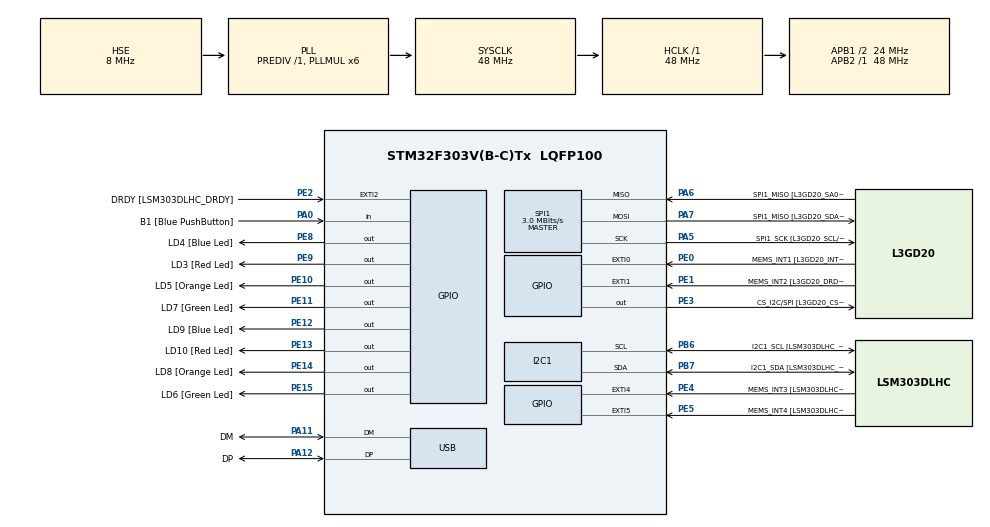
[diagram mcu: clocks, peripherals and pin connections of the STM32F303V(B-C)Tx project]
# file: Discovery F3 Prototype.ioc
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I2C1.OwnAddress=ACCELERO_I2C_ADDRESS
Mcu.Family=STM32F3
Mcu.Name=STM32F303V(B-C)Tx
Mcu.Package=LQFP100
Mcu.UserConstants=ACCELERO_I2C_ADDRESS,0x32
NVIC.PriorityGroup=NVIC_PRIORITYGROUP_0
NVIC.USB_LP_CAN_RX0_IRQn=true\:0\:0\:false
PA0.GPIO_Label=B1 [Blue PushButton]
PA0.GPIO_Mode=GPIO_MODE_INPUT
PA0.GPIO_PuPd=GPIO_NOPULL
PA0.Signal=GPIO_Input
PA11.GPIO_Label=DM
PA11.Mode=Device
PA11.Signal=USB_DM
PA12.GPIO_Label=DP
PA12.Mode=Device
PA12.Signal=USB_DP
PA13.GPIO_Label=SWDIO
PA13.Mode=Trace-Asynchronous_SW
PA13.Signal=SYS_JTMS-SWDIO
PA14.GPIO_Label=SWCLK
PA14.Mode=Trace-Asynchronous_SW
PA14.Signal=SYS_JTCK-SWCLK
PA5.GPIO_Label=SPI1_SCK [L3GD20_SCL/SPC]
PA5.GPIO_Mode=GPIO_MODE_AF_PP
PA5.GPIO_PuPd=GPIO_NOPULL
PA5.GPIO_Speed=GPIO_SPEED_LOW
PA5.Mode=Full_Duplex_Master
PA5.Signal=SPI1_SCK
PA6.GPIO_Label=SPI1_MISO [L3GD20_SA0/SDO]
PA6.GPIO_Mode=GPIO_MODE_AF_PP
PA6.GPIO_PuPd=GPIO_NOPULL
PA6.GPIO_Speed=GPIO_SPEED_LOW
PA6.Mode=Full_Duplex_Master
PA6.Signal=SPI1_MISO
PA7.GPIO_Label=SPI1_MISO [L3GD20_SDA/SDI/SDO]
PA7.GPIO_Mode=GPIO_MODE_AF_PP
PA7.GPIO_PuPd=GPIO_NOPULL
PA7.GPIO_Speed=GPIO_SPEED_LOW
PA7.Mode=Full_Duplex_Master
PA7.Signal=SPI1_MOSI
PB3.GPIO_Label=SWO
PB3.Mode=Trace-Asynchronous_SW
PB3.Signal=SYS_JTDO-TRACESWO
PB6.GPIO_FM6=__NULL
PB6.GPIO_Label=I2C1_SCL [LSM303DLHC_SCL]
PB6.GPIO_Mode=GPIO_MODE_AF_OD
PB6.GPIO_PuPd=GPIO_NOPULL
PB6.GPIO_Speed=GPIO_SPEED_LOW
PB6.Mode=I2C
PB6.Signal=I2C1_SCL
PB7.GPIO_FM7=__NULL
PB7.GPIO_Label=I2C1_SDA [LSM303DLHC_SDA]
PB7.GPIO_Mode=GPIO_MODE_AF_OD
PB7.GPIO_PuPd=GPIO_NOPULL
PB7.GPIO_Speed=GPIO_SPEED_LOW
PB7.Mode=I2C
PB7.Signal=I2C1_SDA
PC14-OSC32_IN.GPIO_Label=OSC32_IN
PC14-OSC32_IN.Signal=RCC_OSC32_IN
PC15-OSC32_OUT.GPIO_Label=OSC32_OUT
PC15-OSC32_OUT.Signal=RCC_OSC32_OUT
PE0.GPIO_Label=MEMS_INT1 [L3GD20_INT1]
PE0.GPIO_ModeDefaultEXTI=GPIO_MODE_EVT_RISING
PE0.GPIO_PuPd=GPIO_NOPULL
PE0.Signal=GPXTI0
PE1.GPIO_Label=MEMS_INT2 [L3GD20_DRDY/INT2]
PE1.GPIO_ModeDefaultEXTI=GPIO_MODE_EVT_RISING
PE1.GPIO_PuPd=GPIO_NOPULL
PE1.Signal=GPXTI1
PE10.GPIO_Label=LD5 [Orange Led]
PE10.GPIO_ModeDefaultOutputPP=GPIO_MODE_OUTPUT_PP
PE10.GPIO_PuPd=GPIO_NOPULL
PE10.GPIO_Speed=GPIO_SPEED_LOW
PE10.Signal=GPIO_Output
PE11.GPIO_Label=LD7 [Green Led]
PE11.GPIO_ModeDefaultOutputPP=GPIO_MODE_OUTPUT_PP
PE11.GPIO_PuPd=GPIO_NOPULL
PE11.GPIO_Speed=GPIO_SPEED_LOW
PE11.Signal=GPIO_Output
PE12.GPIO_Label=LD9 [Blue Led]
PE12.GPIO_ModeDefaultOutputPP=GPIO_MODE_OUTPUT_PP
PE12.GPIO_PuPd=GPIO_NOPULL
PE12.GPIO_Speed=GPIO_SPEED_LOW
PE12.Signal=GPIO_Output
PE13.GPIO_Label=LD10 [Red Led]
PE13.GPIO_ModeDefaultOutputPP=GPIO_MODE_OUTPUT_PP
PE13.GPIO_PuPd=GPIO_NOPULL
PE13.GPIO_Speed=GPIO_SPEED_LOW
PE13.Signal=GPIO_Output
PE14.GPIO_Label=LD8 [Orange Led]
PE14.GPIO_ModeDefaultOutputPP=GPIO_MODE_OUTPUT_PP
PE14.GPIO_PuPd=GPIO_NOPULL
PE14.GPIO_Speed=GPIO_SPEED_LOW
PE14.Signal=GPIO_Output
PE15.GPIO_Label=LD6 [Green Led]
PE15.GPIO_ModeDefaultOutputPP=GPIO_MODE_OUTPUT_PP
PE15.GPIO_PuPd=GPIO_NOPULL
PE15.GPIO_Speed=GPIO_SPEED_LOW
PE15.Signal=GPIO_Output
PE2.GPIO_Label=DRDY [LSM303DLHC_DRDY]
PE2.GPIO_ModeDefaultEXTI=GPIO_MODE_EVT_RISING
PE2.GPIO_PuPd=GPIO_NOPULL
PE2.Signal=GPXTI2
PE3.GPIO_Label=CS_I2C/SPI [L3GD20_CS_I2C/SPI]
PE3.GPIO_ModeDefaultOutputPP=GPIO_MODE_OUTPUT_PP
PE3.GPIO_PuPd=GPIO_NOPULL
PE3.GPIO_Speed=GPIO_SPEED_LOW
PE3.Signal=GPIO_Output
PE4.GPIO_Label=MEMS_INT3 [LSM303DLHC_INT1]
PE4.GPIO_ModeDefaultEXTI=GPIO_MODE_EVT_RISING
PE4.GPIO_PuPd=GPIO_NOPULL
PE4.Signal=GPXTI4
PE5.GPIO_Label=MEMS_INT4 [LSM303DLHC_INT2]
PE5.GPIO_ModeDefaultEXTI=GPIO_MODE_EVT_RISING
PE5.GPIO_PuPd=GPIO_NOPULL
PE5.Signal=GPXTI5
PE8.GPIO_Label=LD4 [Blue Led]
PE8.GPIO_ModeDefaultOutputPP=GPIO_MODE_OUTPUT_PP
PE8.GPIO_PuPd=GPIO_NOPULL
PE8.GPIO_Speed=GPIO_SPEED_LOW
PE8.Signal=GPIO_Output
PE9.GPIO_Label=LD3 [Red Led]
PE9.GPIO_ModeDefaultOutputPP=GPIO_MODE_OUTPUT_PP
PE9.GPIO_PuPd=GPIO_NOPULL
PE9.GPIO_Speed=GPIO_SPEED_LOW
PE9.Signal=GPIO_Output
PF0-OSC_IN.GPIO_Label=OSC_IN
PF0-OSC_IN.Mode=HSE-External-Oscillator
PF0-OSC_IN.Signal=RCC_OSC_IN
PF1-OSC_OUT.GPIO_Label=OSC_OUT
PF1-OSC_OUT.Mode=HSE-External-Oscillator
PF1-OSC_OUT.Signal=RCC_OSC_OUT
ProjectManager.TargetToolchain=TrueSTUDIO
RCC.AHBFreq_Value=48000000
RCC.APB1CLKDivider=RCC_HCLK_DIV2
RCC.APB1Freq_Value=24000000
RCC.APB1TimFreq_Value=48000000
RCC.APB2Freq_Value=48000000
RCC.APB2TimFreq_Value=48000000
RCC.CortexFreq_Value=48000000
RCC.HCLKFreq_Value=48000000
RCC.HSE_VALUE=8000000
RCC.HSI_VALUE=8000000
RCC.LSE_VALUE=32768
RCC.PLLMUL=RCC_PLL_MUL6
RCC.SYSCLKFreq_VALUE=48000000
RCC.SYSCLKSourceVirtual=RCC_SYSCLKSOURCE_PLLCLK
RCC.USBFreq_Value=48000000
SPI1.BaudRatePrescaler=SPI_BAUDRATEPRESCALER_16
SPI1.CalculateBaudRate=3.0 MBits/s
SPI1.DataSize=SPI_DATASIZE_8BIT
SPI1.Mode=SPI_MODE_MASTER
USB_DEVICE.USBD_DEBUG_LEVEL=1
USB_DEVICE.USBD_HandleTypeDef=hUsbDeviceFS
USB_DEVICE.VirtualMode=Cdc
USB_DEVICE.VirtualModeFS=Cdc_FS
VP_USB_DEVICE_VS_USB_DEVICE_CDC_FS.Mode=CDC_FS
board=STM32F3DISCOVERY

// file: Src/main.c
/**
  ******************************************************************************
  * File Name          : main.c
  * Description        : Main program body
  ******************************************************************************
  *
  * COPYRIGHT(c) 2016 STMicroelectronics
  *
  * Redistribution and use in source and binary forms, with or without modification,
  * are permitted provided that the following conditions are met:
  *   1. Redistributions of source code must retain the above copyright notice,
  *      this list of conditions and the following disclaimer.
  *   2. Redistributions in binary form must reproduce the above copyright notice,
  *      this list of conditions and the following disclaimer in the documentation
  *      and/or other materials provided with the distribution.
  *   3. Neither the name of STMicroelectronics nor the names of its contributors
  *      may be used to endorse or promote products derived from this software
  *      without specific prior written permission.
  *
  * THIS SOFTWARE IS PROVIDED BY THE COPYRIGHT HOLDERS AND CONTRIBUTORS "AS IS"
  * AND ANY EXPRESS OR IMPLIED WARRANTIES, INCLUDING, BUT NOT LIMITED TO, THE
  * IMPLIED WARRANTIES OF MERCHANTABILITY AND FITNESS FOR A PARTICULAR PURPOSE ARE
  * DISCLAIMED. IN NO EVENT SHALL THE COPYRIGHT HOLDER OR CONTRIBUTORS BE LIABLE
  * FOR ANY DIRECT, INDIRECT, INCIDENTAL, SPECIAL, EXEMPLARY, OR CONSEQUENTIAL
  * DAMAGES (INCLUDING, BUT NOT LIMITED TO, PROCUREMENT OF SUBSTITUTE GOODS OR
  * SERVICES; LOSS OF USE, DATA, OR PROFITS; OR BUSINESS INTERRUPTION) HOWEVER
  * CAUSED AND ON ANY THEORY OF LIABILITY, WHETHER IN CONTRACT, STRICT LIABILITY,
  * OR TORT (INCLUDING NEGLIGENCE OR OTHERWISE) ARISING IN ANY WAY OUT OF THE USE
  * OF THIS SOFTWARE, EVEN IF ADVISED OF THE POSSIBILITY OF SUCH DAMAGE.
  *
  ******************************************************************************
  */
#include "stm32f3xx_hal.h"
#include "i2c.h"
#include "spi.h"
#include "usb_device.h"
#include "gpio.h"

/* USER CODE BEGIN Includes */
#include "stm32f3_discovery_accelerometer.h"
#include "stm32f3_discovery_gyroscope.h"
#include "usbd_cdc_if.h"
/* USER CODE END Includes */

/* USER CODE BEGIN PV */
/* Private variables ---------------------------------------------------------*/

/* USER CODE END PV */

void SystemClock_Config(void);

/* USER CODE BEGIN PFP */
/* Private function prototypes -----------------------------------------------*/

/* USER CODE END PFP */

int main(void)
{

  /* USER CODE BEGIN 1 */
  int16_t AccXYZData[3];
  float GyroXYZData[3];
  float MagXYZData[3];
  /* USER CODE END 1 */

  /* MCU Configuration----------------------------------------------------------*/

  /* Reset of all peripherals, Initializes the Flash interface and the Systick. */
  HAL_Init();

  /* Configure the system clock */
  SystemClock_Config();

  /* Initialize all configured peripherals */
  MX_GPIO_Init(); /* GPIO ports */
  MX_I2C1_Init(); /* L3GD20 */
  MX_SPI1_Init(); /* LS303DH */
  MX_USB_DEVICE_Init(); /* USB serial debug */
  //MX_I2C2_Init(); /* LSM9DS1 IMU */
  //MX_SPI3_Init(); /* SPBTLE-RF */

  /* USER CODE BEGIN 2 */
  BSP_ACCELERO_Init();
  BSP_GYRO_Init();

  /* USER CODE END 2 */

  /* Infinite loop */
  while (1)
  {

  /* USER CODE BEGIN 3 */
	  BSP_ACCELERO_AccGetXYZ(AccXYZData);
	  BSP_ACCELERO_MagGetXYZ(MagXYZData);
	  BSP_GYRO_GetXYZ(GyroXYZData);

	  char Msg[100];
	  sprintf(Msg, "%d %d %d %f %f %f %f %f %f\r\n", AccXYZData[0], AccXYZData[1], AccXYZData[2], MagXYZData[0], MagXYZData[1], MagXYZData[2], GyroXYZData[0], GyroXYZData[1], GyroXYZData[2]);

	  CDC_Transmit_FS(Msg, strlen(Msg));
	  HAL_Delay(50);

  }
  /* USER CODE END 3 */

}

/** System Clock Configuration
*/
void SystemClock_Config(void)
{

  RCC_OscInitTypeDef RCC_OscInitStruct;
  RCC_ClkInitTypeDef RCC_ClkInitStruct;
  RCC_PeriphCLKInitTypeDef PeriphClkInit;

  RCC_OscInitStruct.OscillatorType = RCC_OSCILLATORTYPE_HSI|RCC_OSCILLATORTYPE_HSE;
  RCC_OscInitStruct.HSEState = RCC_HSE_ON;
  RCC_OscInitStruct.HSEPredivValue = RCC_HSE_PREDIV_DIV1;
  RCC_OscInitStruct.HSIState = RCC_HSI_ON;
  RCC_OscInitStruct.HSICalibrationValue = 16;
  RCC_OscInitStruct.PLL.PLLState = RCC_PLL_ON;
  RCC_OscInitStruct.PLL.PLLSource = RCC_PLLSOURCE_HSE;
  RCC_OscInitStruct.PLL.PLLMUL = RCC_PLL_MUL6;
  HAL_RCC_OscConfig(&RCC_OscInitStruct);

  RCC_ClkInitStruct.ClockType = RCC_CLOCKTYPE_HCLK|RCC_CLOCKTYPE_SYSCLK
                              |RCC_CLOCKTYPE_PCLK1|RCC_CLOCKTYPE_PCLK2;
  RCC_ClkInitStruct.SYSCLKSource = RCC_SYSCLKSOURCE_PLLCLK;
  RCC_ClkInitStruct.AHBCLKDivider = RCC_SYSCLK_DIV1;
  RCC_ClkInitStruct.APB1CLKDivider = RCC_HCLK_DIV2;
  RCC_ClkInitStruct.APB2CLKDivider = RCC_HCLK_DIV1;
  HAL_RCC_ClockConfig(&RCC_ClkInitStruct, FLASH_LATENCY_1);

  PeriphClkInit.PeriphClockSelection = RCC_PERIPHCLK_USB|RCC_PERIPHCLK_I2C1
                              |RCC_PERIPHCLK_I2C2;
  PeriphClkInit.I2c1ClockSelection = RCC_I2C1CLKSOURCE_HSI;
  PeriphClkInit.I2c2ClockSelection = RCC_I2C2CLKSOURCE_HSI;
  PeriphClkInit.USBClockSelection = RCC_USBPLLCLK_DIV1;
  HAL_RCCEx_PeriphCLKConfig(&PeriphClkInit);

  HAL_SYSTICK_Config(HAL_RCC_GetHCLKFreq()/1000);

  HAL_SYSTICK_CLKSourceConfig(SYSTICK_CLKSOURCE_HCLK);

  /* SysTick_IRQn interrupt configuration */
  HAL_NVIC_SetPriority(SysTick_IRQn, 0, 0);
}

/************************ (C) COPYRIGHT STMicroelectronics *****END OF FILE****/
